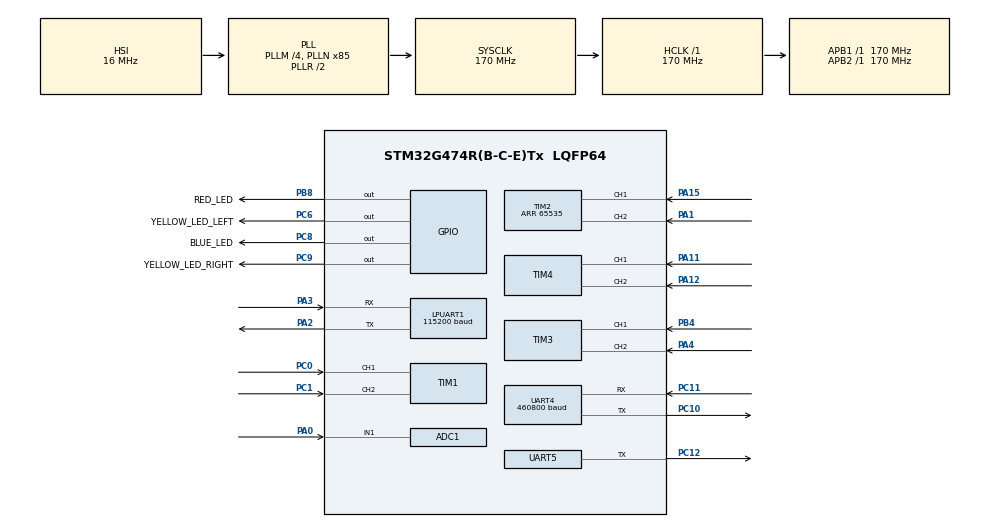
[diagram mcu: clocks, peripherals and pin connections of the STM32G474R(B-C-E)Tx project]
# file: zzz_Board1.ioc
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ADC1.Channel-0\#ChannelRegularConversion=ADC_CHANNEL_VREFINT
ADC1.Channel-1\#ChannelRegularConversion=ADC_CHANNEL_TEMPSENSOR_ADC1
ADC1.Channel-2\#ChannelRegularConversion=ADC_CHANNEL_1
ADC1.ContinuousConvMode=ENABLE
ADC1.DMAContinuousRequests=ENABLE
ADC1.EOCSelection=ADC_EOC_SEQ_CONV
ADC1.NbrOfConversion=3
ADC1.NbrOfConversionFlag=1
ADC1.OffsetNumber-0\#ChannelRegularConversion=ADC_OFFSET_NONE
ADC1.OffsetNumber-1\#ChannelRegularConversion=ADC_OFFSET_NONE
ADC1.OffsetNumber-2\#ChannelRegularConversion=ADC_OFFSET_NONE
ADC1.Rank-0\#ChannelRegularConversion=1
ADC1.Rank-1\#ChannelRegularConversion=2
ADC1.Rank-2\#ChannelRegularConversion=3
ADC1.SamplingTime-0\#ChannelRegularConversion=ADC_SAMPLETIME_640CYCLES_5
ADC1.SamplingTime-1\#ChannelRegularConversion=ADC_SAMPLETIME_640CYCLES_5
ADC1.SamplingTime-2\#ChannelRegularConversion=ADC_SAMPLETIME_640CYCLES_5
ADC1.master=1
Dma.ADC1.0.Direction=DMA_PERIPH_TO_MEMORY
Dma.ADC1.0.EventEnable=DISABLE
Dma.ADC1.0.Instance=DMA1_Channel1
Dma.ADC1.0.MemDataAlignment=DMA_MDATAALIGN_HALFWORD
Dma.ADC1.0.MemInc=DMA_MINC_ENABLE
Dma.ADC1.0.Mode=DMA_CIRCULAR
Dma.ADC1.0.PeriphDataAlignment=DMA_PDATAALIGN_HALFWORD
Dma.ADC1.0.PeriphInc=DMA_PINC_DISABLE
Dma.ADC1.0.Polarity=HAL_DMAMUX_REQ_GEN_RISING
Dma.ADC1.0.Priority=DMA_PRIORITY_LOW
Dma.ADC1.0.RequestNumber=1
Dma.ADC1.0.SignalID=NONE
Dma.ADC1.0.SyncEnable=DISABLE
Dma.ADC1.0.SyncPolarity=HAL_DMAMUX_SYNC_NO_EVENT
Dma.ADC1.0.SyncRequestNumber=1
Dma.ADC1.0.SyncSignalID=NONE
Dma.Request0=ADC1
Dma.Request1=UART4_TX
Dma.UART4_TX.1.Direction=DMA_MEMORY_TO_PERIPH
Dma.UART4_TX.1.EventEnable=DISABLE
Dma.UART4_TX.1.Instance=DMA1_Channel3
Dma.UART4_TX.1.MemDataAlignment=DMA_MDATAALIGN_BYTE
Dma.UART4_TX.1.MemInc=DMA_MINC_ENABLE
Dma.UART4_TX.1.Mode=DMA_NORMAL
Dma.UART4_TX.1.PeriphDataAlignment=DMA_PDATAALIGN_BYTE
Dma.UART4_TX.1.PeriphInc=DMA_PINC_DISABLE
Dma.UART4_TX.1.Polarity=HAL_DMAMUX_REQ_GEN_RISING
Dma.UART4_TX.1.Priority=DMA_PRIORITY_LOW
Dma.UART4_TX.1.RequestNumber=1
Dma.UART4_TX.1.SignalID=NONE
Dma.UART4_TX.1.SyncEnable=DISABLE
Dma.UART4_TX.1.SyncPolarity=HAL_DMAMUX_SYNC_NO_EVENT
Dma.UART4_TX.1.SyncRequestNumber=1
Dma.UART4_TX.1.SyncSignalID=NONE
FREERTOS.Mutexes01=mutex_Encoders,Static,mutex_EncodersControlBlock,Available;mutex_BoardHealth,Static,mutex_BoardHealthControlBlock,Available;mutex_UartRx,Static,mutex_UartRxControlBlock,Available;mutex_Supervisor,Static,mutex_SupervisorControlBlock,Available
FREERTOS.Tasks01=defaultTask,24,128,StartDefaultTask,Default,NULL,Static,defaultTaskBuffer,defaultTaskControlBlock;Task_BattTemp,8,512,StartTask_BattTemp,Default,NULL,Static,Task_BattTempBuffer,Task_BattTempControlBlock;Task_TX,8,512,StartTask_TX,Default,NULL,Static,Task_TXBuffer,Task_TXControlBlock;Task_RX,40,768,StartTask_RX,Default,NULL,Static,Task_RXBuffer,Task_RXControlBlock;Task_Supervisor,40,512,StartTask_Supervisor,Default,NULL,Static,Task_SupervisorBuffer,Task_SupervisorControlBlock;Task_Control,41,512,StartTask_Control,Default,NULL,Static,Task_ControlBuffer,Task_ControlControlBlock;Task_Debug,8,512,StartTask_Debug,Default,NULL,Static,Task_DebugBuffer,Task_DebugControlBlock;Task_Led,8,128,StartTask_Led,Default,NULL,Static,ledTaskBuffer,ledTaskControlBlock
FREERTOS.configCHECK_FOR_STACK_OVERFLOW=2
FREERTOS.configTOTAL_HEAP_SIZE=512
FREERTOS.configUSE_NEWLIB_REENTRANT=1
LPUART1.BaudRate=115200
Mcu.Family=STM32G4
Mcu.Name=STM32G474R(B-C-E)Tx
Mcu.Package=LQFP64
NVIC.DMA1_Channel1_IRQn=true\:5\:0\:false\:false\:true\:true\:false\:true\:true
NVIC.DMA1_Channel3_IRQn=true\:5\:0\:false\:false\:true\:true\:false\:true\:true
NVIC.PriorityGroup=NVIC_PRIORITYGROUP_4
NVIC.TIM6_DAC_IRQn=true\:15\:0\:false\:false\:true\:false\:false\:true\:true
NVIC.TimeBase=TIM6_DAC_IRQn
NVIC.TimeBaseIP=TIM6
NVIC.UART4_IRQn=true\:5\:0\:false\:false\:true\:true\:true\:true\:true
NVIC.UART5_IRQn=true\:5\:0\:false\:false\:true\:true\:true\:true\:true
PA0.Mode=IN1-Single-Ended
PA0.Signal=ADC1_IN1
PA1.Signal=S_TIM2_CH2
PA11.Signal=S_TIM4_CH1
PA12.Signal=S_TIM4_CH2
PA15.Signal=S_TIM2_CH1
PA2.Mode=Asynchronous
PA2.Signal=LPUART1_TX
PA3.Mode=Asynchronous
PA3.Signal=LPUART1_RX
PA4.Signal=S_TIM3_CH2
PB4.Signal=S_TIM3_CH1
PB8-BOOT0.GPIO_Label=RED_LED
PB8-BOOT0.Signal=GPIO_Output
PC0.Signal=S_TIM1_CH1
PC1.Signal=S_TIM1_CH2
PC10.Mode=Asynchronous
PC10.Signal=UART4_TX
PC11.Mode=Asynchronous
PC11.Signal=UART4_RX
PC12.Mode=Half_duplex(single_wire_mode)
PC12.Signal=UART5_TX
PC6.GPIO_Label=YELLOW_LED_LEFT
PC6.Signal=GPIO_Output
PC8.GPIO_Label=BLUE_LED
PC8.Signal=GPIO_Output
PC9.GPIO_Label=YELLOW_LED_RIGHT
PC9.Signal=GPIO_Output
ProjectManager.HeapSize=0x200
ProjectManager.StackSize=0x400
ProjectManager.TargetToolchain=STM32CubeIDE
RCC.ADC12Freq_Value=170000000
RCC.ADC345Freq_Value=170000000
RCC.AHBFreq_Value=170000000
RCC.APB1Freq_Value=170000000
RCC.APB1TimFreq_Value=170000000
RCC.APB2Freq_Value=170000000
RCC.APB2TimFreq_Value=170000000
RCC.CortexFreq_Value=170000000
RCC.EXTERNAL_CLOCK_VALUE=12288000
RCC.HCLKFreq_Value=170000000
RCC.HSE_VALUE=8000000
RCC.HSI48_VALUE=48000000
RCC.HSI_VALUE=16000000
RCC.LSE_VALUE=32768
RCC.PLLM=RCC_PLLM_DIV4
RCC.PLLN=85
RCC.SYSCLKFreq_VALUE=170000000
RCC.SYSCLKSource=RCC_SYSCLKSOURCE_PLLCLK
RCC.USBFreq_Value=170000000
RCC.VCOOutputFreq_Value=340000000
SH.S_TIM1_CH1.0=TIM1_CH1,Encoder_Interface
SH.S_TIM1_CH2.0=TIM1_CH2,Encoder_Interface
SH.S_TIM2_CH1.0=TIM2_CH1,Encoder_Interface
SH.S_TIM2_CH2.0=TIM2_CH2,Encoder_Interface
SH.S_TIM3_CH1.0=TIM3_CH1,Encoder_Interface
SH.S_TIM3_CH2.0=TIM3_CH2,Encoder_Interface
SH.S_TIM4_CH1.0=TIM4_CH1,Encoder_Interface
SH.S_TIM4_CH2.0=TIM4_CH2,Encoder_Interface
TIM1.EncoderMode=TIM_ENCODERMODE_TI12
TIM1.IC1Filter=5
TIM1.IC2Filter=5
TIM2.EncoderMode=TIM_ENCODERMODE_TI12
TIM2.IC1Filter=5
TIM2.IC2Filter=5
TIM2.PeriodNoDither=65535
TIM3.EncoderMode=TIM_ENCODERMODE_TI12
TIM3.IC1Filter=5
TIM3.IC2Filter=5
TIM4.EncoderMode=TIM_ENCODERMODE_TI12
TIM4.IC1Filter=5
TIM4.IC2Filter=5
UART4.BaudRate=460800
UART5.BaudRate=38400
UART5.Mode=MODE_TX
VP_ADC1_TempSens_Input.Mode=IN-TempSens
VP_ADC1_Vref_Input.Mode=IN-Vrefint
VP_FREERTOS_VS_CMSIS_V2.Mode=CMSIS_V2
VP_SYS_VS_DBSignals.Mode=DisableDeadBatterySignals
VP_SYS_VS_tim6.Mode=TIM6
board=custom

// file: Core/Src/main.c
/* USER CODE BEGIN Header */
/**
  ******************************************************************************
  * @file           : main.c
  * @brief          : Main program body
  ******************************************************************************
  * @attention
  *
  * Copyright (c) 2026 STMicroelectronics.
  * All rights reserved.
  *
  * This software is licensed under terms that can be found in the LICENSE file
  * in the root directory of this software component.
  * If no LICENSE file comes with this software, it is provided AS-IS.
  *
  ******************************************************************************
  */
/* USER CODE END Header */
#include "main.h"
#include "cmsis_os.h"
#include "adc.h"
#include "dma.h"
#include "usart.h"
#include "tim.h"
#include "gpio.h"

/* USER CODE BEGIN Includes */
#include "comm/comm_uart.h"
/* USER CODE END Includes */

void SystemClock_Config(void);
void MX_FREERTOS_Init(void);
/* USER CODE BEGIN PFP */
#include "core_cm4.h"

  void DWT_Init(void)
  {
      CoreDebug->DEMCR |= CoreDebug_DEMCR_TRCENA_Msk;
      DWT->CYCCNT = 0;
      DWT->CTRL |= DWT_CTRL_CYCCNTENA_Msk;
  }
/* USER CODE END PFP */

int main(void)
{

  /* MCU Configuration--------------------------------------------------------*/

  /* Reset of all peripherals, Initializes the Flash interface and the Systick. */
  HAL_Init();

  /* Configure the system clock */
  SystemClock_Config();

  /* Initialize all configured peripherals */
  MX_GPIO_Init();
  MX_DMA_Init();
  MX_ADC1_Init();
  MX_TIM1_Init();
  MX_TIM2_Init();
  MX_TIM3_Init();
  MX_TIM4_Init();
  MX_LPUART1_UART_Init();
  MX_UART4_Init();
  MX_UART5_Init();
  /* USER CODE BEGIN 2 */
  DWT_Init();
  CommUart_EarlyInit();
  /* USER CODE END 2 */

  /* Init scheduler */
  osKernelInitialize();  /* Call init function for freertos objects (in cmsis_os2.c) */
  MX_FREERTOS_Init();

  /* Start scheduler */
  osKernelStart();

  /* We should never get here as control is now taken by the scheduler */

  /* Infinite loop */
  while (1)
  {

  }
}

void SystemClock_Config(void)
{
  RCC_OscInitTypeDef RCC_OscInitStruct = {0};
  RCC_ClkInitTypeDef RCC_ClkInitStruct = {0};

  /** Configure the main internal regulator output voltage
  */
  HAL_PWREx_ControlVoltageScaling(PWR_REGULATOR_VOLTAGE_SCALE1_BOOST);

  /** Initializes the RCC Oscillators according to the specified parameters
  * in the RCC_OscInitTypeDef structure.
  */
  RCC_OscInitStruct.OscillatorType = RCC_OSCILLATORTYPE_HSI;
  RCC_OscInitStruct.HSIState = RCC_HSI_ON;
  RCC_OscInitStruct.HSICalibrationValue = RCC_HSICALIBRATION_DEFAULT;
  RCC_OscInitStruct.PLL.PLLState = RCC_PLL_ON;
  RCC_OscInitStruct.PLL.PLLSource = RCC_PLLSOURCE_HSI;
  RCC_OscInitStruct.PLL.PLLM = RCC_PLLM_DIV4;
  RCC_OscInitStruct.PLL.PLLN = 85;
  RCC_OscInitStruct.PLL.PLLP = RCC_PLLP_DIV2;
  RCC_OscInitStruct.PLL.PLLQ = RCC_PLLQ_DIV2;
  RCC_OscInitStruct.PLL.PLLR = RCC_PLLR_DIV2;
  if (HAL_RCC_OscConfig(&RCC_OscInitStruct) != HAL_OK)
  {
    Error_Handler();
  }

  /** Initializes the CPU, AHB and APB buses clocks
  */
  RCC_ClkInitStruct.ClockType = RCC_CLOCKTYPE_HCLK|RCC_CLOCKTYPE_SYSCLK
                              |RCC_CLOCKTYPE_PCLK1|RCC_CLOCKTYPE_PCLK2;
  RCC_ClkInitStruct.SYSCLKSource = RCC_SYSCLKSOURCE_PLLCLK;
  RCC_ClkInitStruct.AHBCLKDivider = RCC_SYSCLK_DIV1;
  RCC_ClkInitStruct.APB1CLKDivider = RCC_HCLK_DIV1;
  RCC_ClkInitStruct.APB2CLKDivider = RCC_HCLK_DIV1;

  if (HAL_RCC_ClockConfig(&RCC_ClkInitStruct, FLASH_LATENCY_4) != HAL_OK)
  {
    Error_Handler();
  }
}

void HAL_TIM_PeriodElapsedCallback(TIM_HandleTypeDef *htim)
{
  if (htim->Instance == TIM6)
  {
    HAL_IncTick();
  }
}

void Error_Handler(void)
{
  __disable_irq();
  while (1)
  {
  }
}

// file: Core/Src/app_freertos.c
/* USER CODE BEGIN Header */
/**
  ******************************************************************************
  * File Name          : app_freertos.c
  * Description        : Code for freertos applications
  ******************************************************************************
  * @attention
  *
  * Copyright (c) 2026 STMicroelectronics.
  * All rights reserved.
  *
  * This software is licensed under terms that can be found in the LICENSE file
  * in the root directory of this software component.
  * If no LICENSE file comes with this software, it is provided AS-IS.
  *
  ******************************************************************************
  */
/* USER CODE END Header */

#include "FreeRTOS.h"
#include "task.h"
#include "main.h"
#include "cmsis_os.h"

/* USER CODE BEGIN Includes */
#include "actuation/actuation_step.h"
#include "control/control_step.h"
#include "encoder/encoder_step.h"
#include "board_health/board_health_task.h"
#include "comm/comm_rx_task.h"
#include "comm/comm_tx_task.h"
#include "log/log_task.h"
#include "led/led_task.h"
#include "supervisor/supervisor_task.h"
#include "snapshot/snapshot.h"
#include "log/wcet_monitor.h"
#include <stdlib.h>
#include <stdio.h>
/* USER CODE END Includes */

typedef StaticTask_t osStaticThreadDef_t;
typedef StaticSemaphore_t osStaticMutexDef_t;

/* USER CODE BEGIN Variables */

UBaseType_t free_words_enc = 0;
UBaseType_t free_words_batt = 0;
UBaseType_t free_words_tx = 0;
UBaseType_t free_words_act = 0;
UBaseType_t free_words_ctrl = 0;

volatile uint32_t wcet_enc_cycles_max = 0;
volatile uint32_t wcet_batt_cycles_max = 0;
volatile uint32_t wcet_tx_cycles_max = 0;
volatile uint32_t wcet_act_cycles_max = 0;
volatile uint32_t wcet_ctrl_cycles_max = 0;

volatile uint32_t cycles_batt = 0;
volatile uint32_t cycles_enc = 0;
volatile uint32_t cycles_tx = 0;
volatile uint32_t cycles_act = 0;
volatile uint32_t cycles_ctrl = 0;

volatile uint32_t indice = 0;

/* USER CODE END Variables */
/* Definitions for defaultTask */
osThreadId_t defaultTaskHandle;
uint32_t defaultTaskBuffer[ 128 ];
osStaticThreadDef_t defaultTaskControlBlock;
const osThreadAttr_t defaultTask_attributes = {
  .name = "defaultTask",
  .stack_mem = &defaultTaskBuffer[0],
  .stack_size = sizeof(defaultTaskBuffer),
  .cb_mem = &defaultTaskControlBlock,
  .cb_size = sizeof(defaultTaskControlBlock),
  .priority = (osPriority_t) osPriorityNormal,
};
/* Definitions for Task_BattTemp */
osThreadId_t Task_BattTempHandle;
uint32_t Task_BattTempBuffer[ 512 ];
osStaticThreadDef_t Task_BattTempControlBlock;
const osThreadAttr_t Task_BattTemp_attributes = {
  .name = "Task_BattTemp",
  .stack_mem = &Task_BattTempBuffer[0],
  .stack_size = sizeof(Task_BattTempBuffer),
  .cb_mem = &Task_BattTempControlBlock,
  .cb_size = sizeof(Task_BattTempControlBlock),
  .priority = (osPriority_t) osPriorityLow,
};
/* Definitions for Task_TX */
osThreadId_t Task_TXHandle;
uint32_t Task_TXBuffer[ 512 ];
osStaticThreadDef_t Task_TXControlBlock;
const osThreadAttr_t Task_TX_attributes = {
  .name = "Task_TX",
  .stack_mem = &Task_TXBuffer[0],
  .stack_size = sizeof(Task_TXBuffer),
  .cb_mem = &Task_TXControlBlock,
  .cb_size = sizeof(Task_TXControlBlock),
  .priority = (osPriority_t) osPriorityLow,
};
/* Definitions for Task_RX */
osThreadId_t Task_RXHandle;
uint32_t Task_RXBuffer[ 768 ];
osStaticThreadDef_t Task_RXControlBlock;
const osThreadAttr_t Task_RX_attributes = {
  .name = "Task_RX",
  .stack_mem = &Task_RXBuffer[0],
  .stack_size = sizeof(Task_RXBuffer),
  .cb_mem = &Task_RXControlBlock,
  .cb_size = sizeof(Task_RXControlBlock),
  .priority = (osPriority_t) osPriorityHigh,
};
/* Definitions for Task_Supervisor */
osThreadId_t Task_SupervisorHandle;
uint32_t Task_SupervisorBuffer[ 512 ];
osStaticThreadDef_t Task_SupervisorControlBlock;
const osThreadAttr_t Task_Supervisor_attributes = {
  .name = "Task_Supervisor",
  .stack_mem = &Task_SupervisorBuffer[0],
  .stack_size = sizeof(Task_SupervisorBuffer),
  .cb_mem = &Task_SupervisorControlBlock,
  .cb_size = sizeof(Task_SupervisorControlBlock),
  .priority = (osPriority_t) osPriorityHigh,
};
/* Definitions for Task_Control */
osThreadId_t Task_ControlHandle;
uint32_t Task_ControlBuffer[ 512 ];
osStaticThreadDef_t Task_ControlControlBlock;
const osThreadAttr_t Task_Control_attributes = {
  .name = "Task_Control",
  .stack_mem = &Task_ControlBuffer[0],
  .stack_size = sizeof(Task_ControlBuffer),
  .cb_mem = &Task_ControlControlBlock,
  .cb_size = sizeof(Task_ControlControlBlock),
  .priority = (osPriority_t) osPriorityHigh1,
};
/* Definitions for Task_Debug */
osThreadId_t Task_DebugHandle;
uint32_t Task_DebugBuffer[ 512 ];
osStaticThreadDef_t Task_DebugControlBlock;
const osThreadAttr_t Task_Debug_attributes = {
  .name = "Task_Debug",
  .stack_mem = &Task_DebugBuffer[0],
  .stack_size = sizeof(Task_DebugBuffer),
  .cb_mem = &Task_DebugControlBlock,
  .cb_size = sizeof(Task_DebugControlBlock),
  .priority = (osPriority_t) osPriorityLow,
};
/* Definitions for Task_Led */
osThreadId_t Task_LedHandle;
uint32_t ledTaskBuffer[ 128 ];
osStaticThreadDef_t ledTaskControlBlock;
const osThreadAttr_t Task_Led_attributes = {
  .name = "Task_Led",
  .stack_mem = &ledTaskBuffer[0],
  .stack_size = sizeof(ledTaskBuffer),
  .cb_mem = &ledTaskControlBlock,
  .cb_size = sizeof(ledTaskControlBlock),
  .priority = (osPriority_t) osPriorityLow,
};
/* Definitions for mutex_Encoders */
osMutexId_t mutex_EncodersHandle;
osStaticMutexDef_t mutex_EncodersControlBlock;
const osMutexAttr_t mutex_Encoders_attributes = {
  .name = "mutex_Encoders",
  .cb_mem = &mutex_EncodersControlBlock,
  .cb_size = sizeof(mutex_EncodersControlBlock),
};
/* Definitions for mutex_BoardHealth */
osMutexId_t mutex_BoardHealthHandle;
osStaticMutexDef_t mutex_BoardHealthControlBlock;
const osMutexAttr_t mutex_BoardHealth_attributes = {
  .name = "mutex_BoardHealth",
  .cb_mem = &mutex_BoardHealthControlBlock,
  .cb_size = sizeof(mutex_BoardHealthControlBlock),
};
/* Definitions for mutex_UartRx */
osMutexId_t mutex_UartRxHandle;
osStaticMutexDef_t mutex_UartRxControlBlock;
const osMutexAttr_t mutex_UartRx_attributes = {
  .name = "mutex_UartRx",
  .cb_mem = &mutex_UartRxControlBlock,
  .cb_size = sizeof(mutex_UartRxControlBlock),
};
/* Definitions for mutex_Supervisor */
osMutexId_t mutex_SupervisorHandle;
osStaticMutexDef_t mutex_SupervisorControlBlock;
const osMutexAttr_t mutex_Supervisor_attributes = {
  .name = "mutex_Supervisor",
  .cb_mem = &mutex_SupervisorControlBlock,
  .cb_size = sizeof(mutex_SupervisorControlBlock),
};

void StartDefaultTask(void *argument);
void StartTask_BattTemp(void *argument);
void StartTask_TX(void *argument);
void StartTask_RX(void *argument);
void StartTask_Supervisor(void *argument);
void StartTask_Control(void *argument);
void StartTask_Debug(void *argument);
void StartTask_Led(void *argument);

void MX_FREERTOS_Init(void); /* (MISRA C 2004 rule 8.1) */

/* Hook prototypes */
void vApplicationStackOverflowHook(xTaskHandle xTask, signed char *pcTaskName);

/* USER CODE BEGIN 4 */
void vApplicationStackOverflowHook(xTaskHandle xTask, signed char *pcTaskName)
{
   /* Run time stack overflow checking is performed if
   configCHECK_FOR_STACK_OVERFLOW is defined to 1 or 2. This hook function is
   called if a stack overflow is detected. */

    taskDISABLE_INTERRUPTS();

    // breakpoint qui
    for (;;);
}
/* USER CODE END 4 */

void MX_FREERTOS_Init(void) {
  /* Create the mutex(es) */
  /* creation of mutex_Encoders */
  mutex_EncodersHandle = osMutexNew(&mutex_Encoders_attributes);

  /* creation of mutex_BoardHealth */
  mutex_BoardHealthHandle = osMutexNew(&mutex_BoardHealth_attributes);

  /* creation of mutex_UartRx */
  mutex_UartRxHandle = osMutexNew(&mutex_UartRx_attributes);

  /* creation of mutex_Supervisor */
  mutex_SupervisorHandle = osMutexNew(&mutex_Supervisor_attributes);

  /* USER CODE BEGIN RTOS_MUTEX */
  EncoderSnapshot_MutexInit(mutex_EncodersHandle);
  BoardHealthSnapshot_MutexInit(mutex_BoardHealthHandle);
  RxSnapshot_MutexInit(mutex_UartRxHandle);
  SupervisorSnapshot_MutexInit(mutex_SupervisorHandle);
  /* USER CODE END RTOS_MUTEX */

  /* Create the thread(s) */
  /* creation of defaultTask */
  defaultTaskHandle = osThreadNew(StartDefaultTask, NULL, &defaultTask_attributes);

  /* creation of Task_BattTemp */
  Task_BattTempHandle = osThreadNew(StartTask_BattTemp, NULL, &Task_BattTemp_attributes);

  /* creation of Task_TX */
  Task_TXHandle = osThreadNew(StartTask_TX, NULL, &Task_TX_attributes);

  /* creation of Task_RX */
  Task_RXHandle = osThreadNew(StartTask_RX, NULL, &Task_RX_attributes);

  /* creation of Task_Supervisor */
  Task_SupervisorHandle = osThreadNew(StartTask_Supervisor, NULL, &Task_Supervisor_attributes);

  /* creation of Task_Control */
  Task_ControlHandle = osThreadNew(StartTask_Control, NULL, &Task_Control_attributes);

  /* creation of Task_Debug */
  Task_DebugHandle = osThreadNew(StartTask_Debug, NULL, &Task_Debug_attributes);

  /* creation of Task_Led */
  Task_LedHandle = osThreadNew(StartTask_Led, NULL, &Task_Led_attributes);

}

void StartDefaultTask(void *argument)
{
  /* USER CODE BEGIN StartDefaultTask */
  /* Infinite loop */
  for(;;)
  {
	  osDelay(10);
  }
  /* USER CODE END StartDefaultTask */
}

void StartTask_BattTemp(void *argument)
{
  /* USER CODE BEGIN StartTask_BattTemp */
  /* Infinite loop */

	TickType_t lastWakeTime = osKernelGetTickCount();
	BoardHealth_TaskInit();
  for(;;)
  {
      uint32_t start, cycles;

      start = DWT->CYCCNT;

	  BoardHealth_TaskStep();

      cycles = DWT->CYCCNT - start;
      cycles_batt = cycles;
      if (cycles > wcet_batt_cycles_max){
          wcet_batt_cycles_max = cycles;
      }
      indice ++ ;

      free_words_batt = uxTaskGetStackHighWaterMark(NULL);

	  lastWakeTime += 100;
	  osDelayUntil(lastWakeTime);
  }
  /* USER CODE END StartTask_BattTemp */
}

void StartTask_TX(void *argument)
{
  /* USER CODE BEGIN StartTask_TX */
	  TickType_t lastWakeTime = osKernelGetTickCount();

	  for (;;)
	  {
		uint32_t s = DWT->CYCCNT;

	    Tx_TaskStep();

	    WCET_Update(WCET_TASK_TX, DWT->CYCCNT - s);

	    free_words_tx = uxTaskGetStackHighWaterMark(NULL);

	    lastWakeTime += 20;   // es. 20 ms
	    osDelayUntil(lastWakeTime);
	  }
  /* USER CODE END StartTask_TX */
}

void StartTask_RX(void *argument)
{
  /* USER CODE BEGIN StartTask_RX */
	Rx_TaskInit();

  /* Infinite loop */
  for(;;)
  {
	  Rx_TaskStep();
  }
  /* USER CODE END StartTask_RX */
}

void StartTask_Supervisor(void *argument)
{
  /* USER CODE BEGIN StartTask_Supervisor */
	TickType_t lastWakeTime = osKernelGetTickCount();

	Supervisor_TaskInit();
  /* Infinite loop */
  for(;;)
  {

	  Supervisor_TaskStep();
	  lastWakeTime += 20;
	  osDelayUntil(lastWakeTime);
  }
  /* USER CODE END StartTask_Supervisor */
}

void StartTask_Control(void *argument)
{
  /* USER CODE BEGIN StartTask_Control */
	  TickType_t lastWakeTime = osKernelGetTickCount();
	  Encoder_Init();
	  Control_Init();
	  Actuation_Init();

	  static float last_cycle_cmd[4] = {0};
	  for (;;)
	  {
		  uint32_t start, cycles;
		  start = DWT->CYCCNT;

		  Encoder_Step(last_cycle_cmd);
		  ControlOutput_t new_cmd = Control_Step();
		  Actuation_Step(new_cmd);

		  last_cycle_cmd[0] = new_cmd.u_sx_a;
		  last_cycle_cmd[1] = new_cmd.u_dx_a;
		  last_cycle_cmd[2] = new_cmd.u_sx_p;
		  last_cycle_cmd[3] = new_cmd.u_dx_p;

		  cycles = DWT->CYCCNT - start;
		  cycles_ctrl = cycles;
		  if (cycles > wcet_ctrl_cycles_max){
			  wcet_ctrl_cycles_max = cycles;
		  }

		  free_words_ctrl = uxTaskGetStackHighWaterMark(NULL);

		  lastWakeTime += 10;          /* 10 ms */
		  osDelayUntil(lastWakeTime);
	  }
  /* USER CODE END StartTask_Control */
}

void StartTask_Debug(void *argument)
{
  /* USER CODE BEGIN StartTask_Debug */
  /* Infinite loop */
	  TickType_t lastWakeTime = osKernelGetTickCount();
	  for(;;)
	  {
		  Log_TaskStep();

		  lastWakeTime += 1000;
		  osDelayUntil(lastWakeTime);
	  }
  /* USER CODE END StartTask_Debug */
}

void StartTask_Led(void *argument)
{
  /* USER CODE BEGIN StartTask_Led */
	TickType_t lastWakeTime = osKernelGetTickCount();
  /* Infinite loop */
  for(;;)
  {

	  Led_TaskStep();
	  lastWakeTime += 100;
	  osDelayUntil(lastWakeTime);
  }
  /* USER CODE END StartTask_Led */
}
